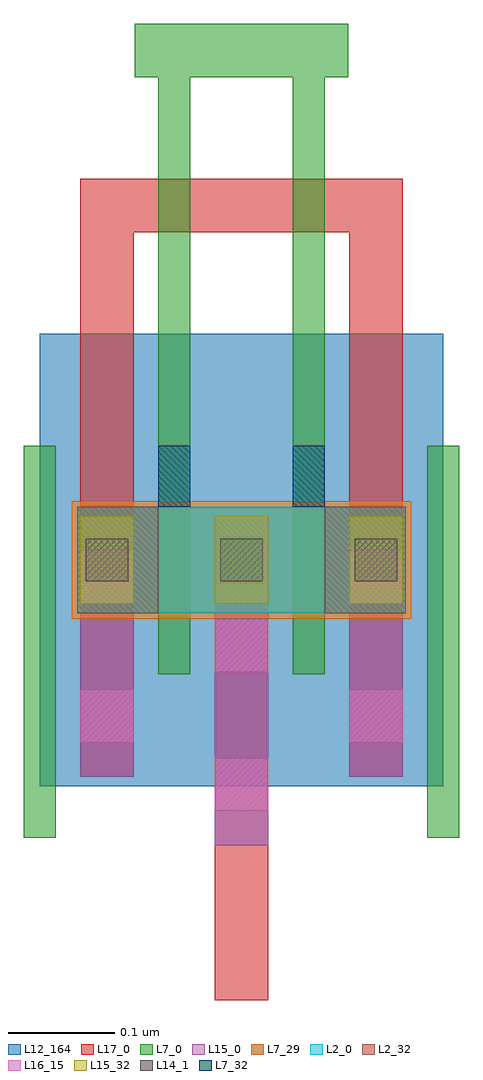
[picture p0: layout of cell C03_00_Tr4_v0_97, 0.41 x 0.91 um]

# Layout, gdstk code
import gdstk
lib = gdstk.Library(unit=1e-6, precision=1e-09)
def R(c, l, rs):  # rectangles x0, y0, x1, y1
    for r in rs: c.add(gdstk.rectangle(r[:2], r[2:], *l))
def A(c, l, x, y, w, h, nx, ny, dx, dy):  # array of equal rectangles
    R(c, l, [(x+i*dx, y+j*dy, x+i*dx+w, y+j*dy+h) for i in range(nx) for j in range(ny)])
L2_0 = (2, 0)
L2_32 = (2, 32)
L7_0 = (7, 0)
L7_29 = (7, 29)
L7_32 = (7, 32)
L12_164 = (12, 164)
L14_1 = (14, 1)
L15_0 = (15, 0)
L15_32 = (15, 32)
L16_15 = (16, 15)
L17_0 = (17, 0)

c03_00_tr4_v0_97_srf_nmo = lib.new_cell('C03_00_Tr4_v0_97:SRF_NMOS:SRF_Source_ViaM1M2:SRF_ViaM1M2')
R(c03_00_tr4_v0_97_srf_nmo, L15_0, [(0,-0.162,0.05,0.082)])
R(c03_00_tr4_v0_97_srf_nmo, L16_15, [(0,-0.13,0.05,-0.08), (0,0,0.05,0.05)])
R(c03_00_tr4_v0_97_srf_nmo, L17_0, [(0,-0.162,0.05,0.082)])

c_c03_00_tr4_v0_97_srf_nmo = lib.new_cell('C03_00_Tr4_v0_97:SRF_NMOS:SRF_Source_ViaM1M2')
c_c03_00_tr4_v0_97_srf_nmo.add(gdstk.Reference(c03_00_tr4_v0_97_srf_nmo, (-0.025,0.04)))

c_c03_00_tr4_v0_97_srf_nmo_ = lib.new_cell('C03_00_Tr4_v0_97:SRF_NMOS:SRF_Drain_ViaM1M2:SRF_ViaM1M2')
R(c_c03_00_tr4_v0_97_srf_nmo_, L15_0, [(0,-0.162,0.05,0.082)])
R(c_c03_00_tr4_v0_97_srf_nmo_, L16_15, [(0,-0.13,0.05,-0.08), (0,0,0.05,0.05)])
R(c_c03_00_tr4_v0_97_srf_nmo_, L17_0, [(0,-0.162,0.05,0.082)])

c_c03_00_tr4_v0_97_srf_nmo__ = lib.new_cell('C03_00_Tr4_v0_97:SRF_NMOS:SRF_Drain_ViaM1M2')
c_c03_00_tr4_v0_97_srf_nmo__.add(gdstk.Reference(c_c03_00_tr4_v0_97_srf_nmo_, (-0.025,0.04)))

c_c03_00_tr4_v0_97_srf_nmo___ = lib.new_cell('C03_00_Tr4_v0_97:SRF_NMOS')
R(c_c03_00_tr4_v0_97_srf_nmo___, L2_0, [(-0.076,0.057,0.232,0.157)])
R(c_c03_00_tr4_v0_97_srf_nmo___, L2_32, [(-0.076,0.057,0,0.157), (0.156,0.057,0.232,0.157)])
R(c_c03_00_tr4_v0_97_srf_nmo___, L7_0, [(-0.126,-0.153,-0.096,0.214), (0.252,-0.153,0.282,0.214), (0,0,0.03,0.214), (0.126,0,0.156,0.214)])
R(c_c03_00_tr4_v0_97_srf_nmo___, L7_29, [(-0.081,0.052,0.237,0.162)])
R(c_c03_00_tr4_v0_97_srf_nmo___, L7_32, [(0,0.157,0.03,0.214), (0.126,0.157,0.156,0.214)])
R(c_c03_00_tr4_v0_97_srf_nmo___, L12_164, [(-0.111,-0.105,0.267,0.319)])
A(c_c03_00_tr4_v0_97_srf_nmo___, L14_1, -0.068, 0.087, 0.04, 0.04, 3, 1, 0.126, 0)
R(c_c03_00_tr4_v0_97_srf_nmo___, L15_0, [(-0.073,0.066,-0.023,0.148), (-0.073,0.066,-0.023,0.148), (0.053,0.066,0.103,0.148), (0.053,0.066,0.103,0.148), (0.179,0.066,0.229,0.148), (0.179,0.066,0.229,0.148)])
A(c_c03_00_tr4_v0_97_srf_nmo___, L15_32, -0.073, 0.066, 0.05, 0.082, 3, 1, 0.126, 0)
c_c03_00_tr4_v0_97_srf_nmo___.add(gdstk.Reference(c_c03_00_tr4_v0_97_srf_nmo, (-0.048,0.026)))
c_c03_00_tr4_v0_97_srf_nmo___.add(gdstk.Reference(c_c03_00_tr4_v0_97_srf_nmo, (0.204,0.026)))
c_c03_00_tr4_v0_97_srf_nmo___.add(gdstk.Reference(c_c03_00_tr4_v0_97_srf_nmo__, (0.078,-0.038)))

c03_00_tr4_v0_97 = lib.new_cell('C03_00_Tr4_v0_97')
R(c03_00_tr4_v0_97, L7_0, [(0,0.214,0.03,0.559), (0.126,0.214,0.156,0.559), (-0.022,0.559,0.178,0.609)])
R(c03_00_tr4_v0_97, L17_0, [(0.053,-0.305,0.103,-0.255), (0.053,-0.255,0.103,-0.16), (-0.073,0.148,-0.023,0.414), (0.179,0.148,0.229,0.414), (-0.073,0.414,0.229,0.464)])
c03_00_tr4_v0_97.add(gdstk.Reference(c_c03_00_tr4_v0_97_srf_nmo___, (0,0)))

lib.write_gds('C03_00_Tr4_v0_97.gds')
